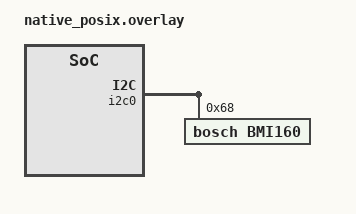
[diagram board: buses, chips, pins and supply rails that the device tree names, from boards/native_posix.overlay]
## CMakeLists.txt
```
# Copyright (c) 2023 Google LLC
# SPDX-License-Identifier: Apache-2.0

cmake_minimum_required(VERSION 3.20)
get_filename_component(PW_DIR "${CMAKE_CURRENT_SOURCE_DIR}/../pigweed" ABSOLUTE)

include("${PW_DIR}/pw_build/pigweed.cmake")

include("${PW_DIR}/pw_sensor/backend.cmake")
pw_set_backend(pw_sensor pw_sensor_zephyr.backend)

include("${PW_DIR}/pw_async/backend.cmake")
pw_set_backend(pw_async.task pw_async_basic.task_backend)
pw_set_backend(pw_async.dispatcher pw_async_basic.dispatcher_backend)

include("${PW_DIR}/pw_sync/backend.cmake")
pw_set_backend(pw_sync.binary_semaphore pw_sync_zephyr.binary_semaphore_backend)
pw_set_backend(pw_sync.interrupt_spin_lock pw_sync_zephyr.interrupt_spin_lock_backend)
pw_set_backend(pw_sync.thread_notification pw_sync_zephyr.thread_notification_backend)
pw_set_backend(pw_sync.timed_thread_notification pw_sync_zephyr.timed_thread_notification_backend)

include("${PW_DIR}/pw_thread/backend.cmake")
pw_set_backend(pw_thread.thread pw_thread_zephyr.thread)
pw_set_backend(pw_thread.id pw_thread_zephyr.id)

find_package(Zephyr REQUIRED HINTS $ENV{ZEPHYR_BASE})

project(pw_sensor)
enable_language(C CXX)

zephyr_linker_sources(SECTIONS "${PW_DIR}/pw_tokenizer/pw_tokenizer_zephyr.ld")

target_sources(app
  PRIVATE
    src/main.cc
    src/async_test.cc
    src/sensor_test.cc
    include/async.h
    include/sensor_test.h
)

target_include_directories(app PRIVATE include)

target_link_libraries(app PRIVATE
    pw_sensor
    pw_sensor_zephyr.backend
    pw_async_basic.task_backend
    pw_async_basic.dispatcher_backend
    pw_thread.thread
)
```

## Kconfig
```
# Copyright (c) 2023 Google LLC
# SPDX-License-Identifier: Apache-2.0

menu "Zephyr"
source "Kconfig.zephyr"
endmenu
```

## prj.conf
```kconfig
# Copyright (c) 2023 Google LLC
# SPDX-License-Identifier: Apache-2.0

# C++ configs
CONFIG_CPP=y
CONFIG_STD_CPP17=y
CONFIG_REQUIRES_FULL_LIBCPP=y

# Logging
CONFIG_LOG=y
CONFIG_SENSOR_LOG_LEVEL_DBG=y

# Assert
CONFIG_ASSERT=y
CONFIG_PIGWEED_ASSERT=y

# Sensors
CONFIG_SENSOR=y
CONFIG_SENSOR_ASYNC_API=y

# Pigweed
CONFIG_PIGWEED_ASSERT=y
CONFIG_PIGWEED_LOG_ZEPHYR=y
CONFIG_PIGWEED_SYNC_MUTEX=y

CONFIG_PIGWEED_THREAD=y
```

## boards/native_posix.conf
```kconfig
# Copyright (c) 2023 Google LLC
# SPDX-License-Identifier: Apache-2.0

CONFIG_EMUL=y
CONFIG_BMI160_TRIGGER_NONE=y
```

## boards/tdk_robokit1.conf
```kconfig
# Copyright (c) 2023 Google LLC
# SPDX-License-Identifier: Apache-2.0
```

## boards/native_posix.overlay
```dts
// Copyright (c) 2023 Google LLC
// SPDX-License-Identifier: Apache-2.0

/ {
    aliases {
        imu = &bmi160;
    };
};

&i2c0 {
    bmi160: bmi160@68 {
        compatible = "bosch,bmi160";
        reg = <0x68>;
    };
};
```

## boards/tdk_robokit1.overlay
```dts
// Copyright (c) 2023 Google LLC
// SPDX-License-Identifier: Apache-2.0

/ {
    aliases {
        imu = &icm42688;
    };
};
```

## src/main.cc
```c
// Copyright (c) 2023 Google LLC
// SPDX-License-Identifier: Apache-2.0

#define PW_LOG_MODULE_NAME "APP"
#define PW_LOG_LEVEL PW_LOG_LEVEL_INFO

#include "async.h"

#include "pw_allocator_zephyr/sys_mem_block_allocator.h"
#include "pw_assert/assert.h"
#include "pw_async_basic/dispatcher.h"
#include "pw_log/log.h"
#include "pw_sensor/sensor.h"
#include "pw_sensor_zephyr/sensor.h"
#include "pw_status/try.h"
#include "pw_thread/thread.h"
#include "pw_thread_zephyr/options.h"

#include "sensor_test.h"
#include <zephyr/drivers/sensor.h>
#include <zephyr/rtio/rtio.h>

#define IMU DT_ALIAS(imu)

RTIO_DEFINE_WITH_MEMPOOL(rtio, 4, 4, 64, 64, 4);
pw::allocator::zephyr::ZephyrAllocator allocator(rtio.block_pool);

pw::sensor::SensorContext sensorContext({
    .r_ = &rtio,
    .allocator_ = &allocator,
});

SENSOR_DT_READ_IODEV(iodev, IMU, SENSOR_CHAN_ALL);

pw::async::BasicDispatcher dispatcher;

pw::thread::zephyr::StaticContextWithStack<2048> work_thread_stack;
[[maybe_unused]] pw::thread::Thread
    work_thread(pw::thread::zephyr::Options(work_thread_stack), dispatcher);

static void read_callback(int result, uint8_t *buf, uint32_t buf_len,
                          void *userdata) {
  const struct device *sensor = static_cast<const device *>(userdata);
  const struct sensor_decoder_api *decoder;

  PW_ASSERT(sensor_get_decoder(sensor, &decoder) == 0);

  uint16_t frame_count;
  PW_ASSERT(decoder->get_frame_count(buf, SENSOR_CHAN_ACCEL_XYZ, 0,
                                     &frame_count) == 0);
  PW_LOG_INFO("Frame count = %u", frame_count);
}

static void configure_sensor(pw::sensor::Sensor &imu) {
  auto configuration = imu.GetConfiguration();

  if (configuration == nullptr) {
    PW_LOG_ERROR("Failed to get configuration for accelerometer");
    return;
  }

  auto sample_rate =
      configuration->HasAttribute(pw::sensor::attribute::kSampleRate,
                                  pw::sensor::type::kSensorTypeAccelerometer);
  if (sample_rate.ok()) {
    *sample_rate.value() = 100.0f;
  } else {
    PW_LOG_INFO("Sensor doesn't support sample rate attribute");
  }
  PW_ASSERT(imu.CommitConfigurationChanges().ok());
}

int main() {
  PW_LOG_INFO("Hello Sensors");
  pw::sensor::zephyr::ZephyrSensor imu(DEVICE_DT_GET(IMU));

  configure_sensor(static_cast<pw::sensor::Sensor &>(imu));

  k_msleep(50);

  // Patch up RTIO with mempool
  rtio.block_pool = &rtio_block_pool;

  PW_ASSERT(RunAsyncTest(sensorContext, dispatcher).ok());

  k_msleep(50);

  // Read the sensor
  PW_LOG_INFO("Performing a plain Zephyr read");
  PW_ASSERT(sensor_read(&iodev, &rtio, (void *)DEVICE_DT_GET(IMU)) == 0);
  sensor_processing_with_callback(&rtio, read_callback);

  k_msleep(50);

  PW_ASSERT(test::sensor::Run(imu, sensorContext, dispatcher).ok());
  return 0;
}
```

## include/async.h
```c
// Copyright 2023 The Pigweed Authors
//
// Licensed under the Apache License, Version 2.0 (the "License"); you may not
// use this file except in compliance with the License. You may obtain a copy of
// the License at
//
//     https://www.apache.org/licenses/LICENSE-2.0
//
// Unless required by applicable law or agreed to in writing, software
// distributed under the License is distributed on an "AS IS" BASIS, WITHOUT
// WARRANTIES OR CONDITIONS OF ANY KIND, either express or implied. See the
// License for the specific language governing permissions and limitations under
// the License.

#pragma once

#include <zephyr/rtio/rtio.h>

#include "pw_allocator_zephyr/sys_mem_block_allocator.h"
#include "pw_function/function.h"
#include "pw_function/pointer.h"
#include "pw_sensor/sensor.h"
#include "pw_status/status.h"
#include "pw_async_basic//dispatcher.h"

pw::Status RunAsyncTest(pw::sensor::SensorContext &ctx, pw::async::BasicDispatcher &dispatcher);

namespace test {

class Request {
public:
  explicit Request(void(*submit)(struct rtio_iodev_sqe *))
      : iodev_api_{
            .submit = submit,
        },
        iodev_{
            .api = &iodev_api_,
            .iodev_sq = RTIO_MPSC_INIT(iodev_.iodev_sq),
            .data = nullptr,
        } {}

  pw::Status Submit(struct rtio *r) {
    struct rtio_sqe sqe;

    rtio_sqe_prep_read_with_pool(&sqe, &iodev_, RTIO_PRIO_NORM, nullptr);

    PW_ASSERT(rtio_sqe_copy_in_get_handles(r, &sqe, &handle_, 1) == 0);

    rtio_submit(r, 0);

    return pw::OkStatus();
  }
  struct rtio_iodev *operator&() {
    return &iodev_;
  }

private:
  const struct rtio_iodev_api iodev_api_;
  struct rtio_iodev iodev_;
  struct rtio_sqe *handle_ = nullptr;
};

} // namespace test
```

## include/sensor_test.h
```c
// Copyright 2023 The Pigweed Authors
//
// Licensed under the Apache License, Version 2.0 (the "License"); you may not
// use this file except in compliance with the License. You may obtain a copy of
// the License at
//
//     https://www.apache.org/licenses/LICENSE-2.0
//
// Unless required by applicable law or agreed to in writing, software
// distributed under the License is distributed on an "AS IS" BASIS, WITHOUT
// WARRANTIES OR CONDITIONS OF ANY KIND, either express or implied. See the
// License for the specific language governing permissions and limitations under
// the License.

#pragma once

#include "pw_status/status.h"
#include "pw_sensor/sensor.h"
#include "pw_async_basic/dispatcher.h"

namespace test::sensor {

pw::Status Run(pw::sensor::Sensor &sensor, pw::sensor::SensorContext &ctx,
               pw::async::BasicDispatcher &dispatcher);

}  // namespace test::sensor
```

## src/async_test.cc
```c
// Copyright 2023 The Pigweed Authors
//
// Licensed under the Apache License, Version 2.0 (the "License"); you may not
// use this file except in compliance with the License. You may obtain a copy of
// the License at
//
//     https://www.apache.org/licenses/LICENSE-2.0
//
// Unless required by applicable law or agreed to in writing, software
// distributed under the License is distributed on an "AS IS" BASIS, WITHOUT
// WARRANTIES OR CONDITIONS OF ANY KIND, either express or implied. See the
// License for the specific language governing permissions and limitations under
// the License.

#include "async.h"
#include "pw_assert/assert.h"
#include "pw_async_basic/dispatcher.h"
#include "pw_status/status.h"
#include "pw_thread/thread.h"

#include <zephyr/rtio/rtio.h>

namespace {

extern "C" void submit_impl(struct rtio_iodev_sqe *iodev_sqe) {
  uint8_t *buf = nullptr;
  uint32_t buf_len = 0;

  if (rtio_sqe_rx_buf(iodev_sqe, 16, 24, &buf, &buf_len) != 0) {
    printk("failed to get buffer\n");
    rtio_iodev_sqe_err(iodev_sqe, -ENOMEM);
    return;
  }

  printk("Allocated buffer @%p with size %zu\n", buf, buf_len);
  rtio_iodev_sqe_ok(iodev_sqe, 0);
}

} // namespace

pw::Status RunAsyncTest(pw::sensor::SensorContext &ctx,
                        pw::async::BasicDispatcher &dispatcher) {
  // TODO can I use pw::Function?
  test::Request iodev(submit_impl);

  iodev.Submit(ctx.native_type().r_);

  auto task_handler = [&ctx]([[maybe_unused]] pw::async::Context &c,
                             pw::Status status) {
    PW_ASSERT(status.ok());
    struct rtio_cqe *cqe = rtio_cqe_consume_block(ctx.native_type().r_);

    if (cqe->result != 0) {
      rtio_cqe_release(ctx.native_type().r_, cqe);
      return;
    }
    uint8_t *buf = nullptr;
    uint32_t buf_len = 0;
    rtio_cqe_get_mempool_buffer(ctx.native_type().r_, cqe, &buf, &buf_len);

    rtio_cqe_release(ctx.native_type().r_, cqe);

    {
      auto result = pw::allocator::experimental::Block(
          ctx.native_type().allocator_,
          pw::ByteSpan((std::byte *)buf, buf_len));

      PW_ASSERT(static_cast<void *>(result.data()) == static_cast<void *>(buf));
      PW_ASSERT(result.size() == buf_len);
    }

    PW_ASSERT(sys_mem_blocks_is_region_free(
        ctx.native_type().r_->block_pool, buf,
        buf_len >> ctx.native_type().r_->block_pool->info.blk_sz_shift));
    printk("Task is done\n");
  };
  pw::async::Task task(task_handler);
  dispatcher.Post(task);

  printk("Task posted\n");
  dispatcher.RunUntilIdle();
  printk("Dispatcher is idle\n");
  return pw::OkStatus();
}
```

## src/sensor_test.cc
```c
// Copyright 2023 The Pigweed Authors
//
// Licensed under the Apache License, Version 2.0 (the "License"); you may not
// use this file except in compliance with the License. You may obtain a copy of
// the License at
//
//     https://www.apache.org/licenses/LICENSE-2.0
//
// Unless required by applicable law or agreed to in writing, software
// distributed under the License is distributed on an "AS IS" BASIS, WITHOUT
// WARRANTIES OR CONDITIONS OF ANY KIND, either express or implied. See the
// License for the specific language governing permissions and limitations under
// the License.

#define PW_LOG_MODULE_NAME "SensorTest"
#define PW_LOG_LEVEL PW_LOG_LEVEL_INFO

#include <zephyr/drivers/sensor_data_types.h>

#include "sensor_test.h"

#include "pw_log/log.h"

pw::Status test::sensor::Run(pw::sensor::Sensor &sensor,
                             pw::sensor::SensorContext &ctx,
                             pw::async::BasicDispatcher &dispatcher) {
  uint32_t read_list[] = {
      pw::sensor::type::kSensorTypeAccelerometer};
  auto future = sensor.Read(ctx, {read_list});
  pw::async::Task task([&future](pw::async::Context &task_context,
                                 pw::Status status) {
    if (status.IsCancelled()) {
      PW_LOG_INFO("Canceled request");
      return;
    }
    PW_LOG_INFO("Creating waker with Task@%p", task_context.task);
    pw::async::experimental::Waker waker(*task_context.dispatcher,
                                         *task_context.task);
    auto result = future.Poll(waker);
    if (result.IsReady()) {
      PW_LOG_INFO("Got result @ %p with length=%u",
                  result.value().value().data(), result.value().value().size());
      auto decoder = future.sensor()->GetDecoder();
      auto byte_span = result.value().value().as_byte_span();
      pw::sensor::DecoderContext decoder_context(byte_span);

      auto size_info = decoder->GetSizeInfo(
          byte_span, pw::sensor::type::kSensorTypeAccelerometer);
      PW_ASSERT_OK(size_info.status());
      PW_LOG_INFO("Decoding an ACCELEROMETER requires %zu bytes for the first "
                  "frame and %zu bytes for every additional frame",
                  size_info.value().base_size, size_info.value().frame_size);

      auto frame_count = decoder->GetFrameCount(
          byte_span, pw::sensor::type::kSensorTypeAccelerometer, 0);
      PW_ASSERT_OK(frame_count.status());
      PW_LOG_INFO("Found %zu ACCELEROMETER frames", frame_count.value());

      std::byte out[64];
      auto decode_result = decoder->Decode(
          decoder_context, pw::sensor::type::kSensorTypeAccelerometer, 0, 1,
          pw::ByteSpan(out));
      PW_ASSERT_OK(decode_result.status());
      PW_ASSERT(decode_result.value() == 1);

      struct sensor_three_axis_data *data =
          (struct sensor_three_axis_data *)out;
      PW_LOG_INFO("Reading:");
      PW_LOG_INFO("  timestamp: %" PRIu64, data->header.base_timestamp_ns);
      PW_LOG_INFO("  reading_count: %" PRIu16, data->header.reading_count);
      PW_LOG_INFO("  [0] %" PRIsensor_three_axis_data,
                  PRIsensor_three_axis_data_arg(*data, 0));
    }
  });
  PW_LOG_INFO("Task@%p, Future@%p", &task, &future);
  dispatcher.Post(task);
  dispatcher.RunUntilIdle();
  PW_LOG_INFO("Dispatcher is idle");
  return pw::OkStatus();
}
```
